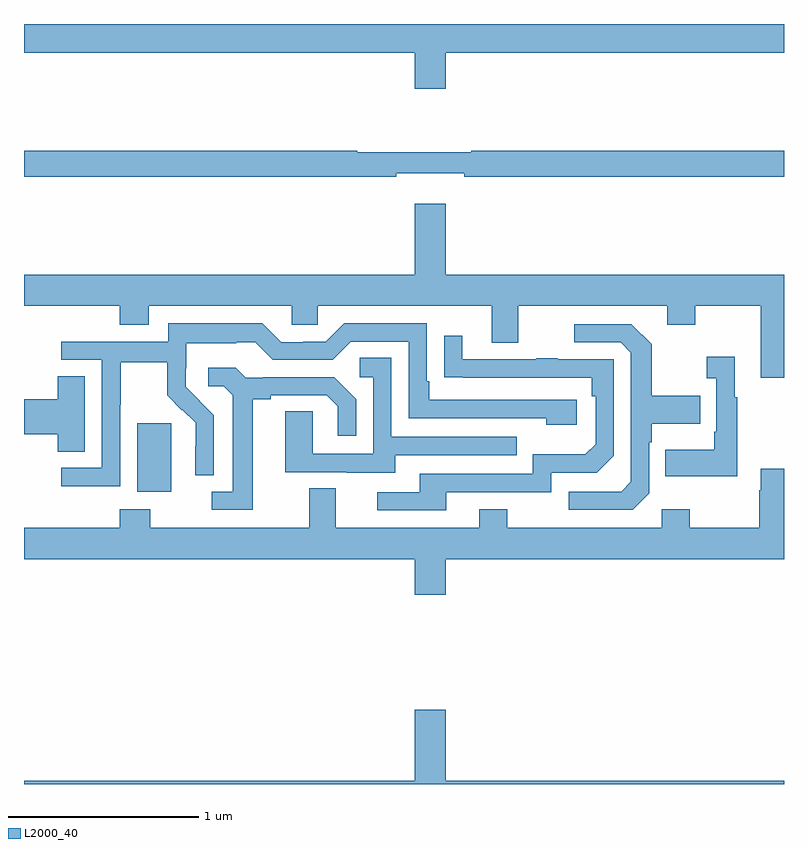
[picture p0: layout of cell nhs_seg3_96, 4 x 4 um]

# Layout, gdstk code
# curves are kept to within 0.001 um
import gdstk
lib = gdstk.Library(unit=1e-6, precision=1e-09)
def R(c, l, rs):  # rectangles x0, y0, x1, y1
    for r in rs: c.add(gdstk.rectangle(r[:2], r[2:], *l))
def P(c, l, *ps):  # polygons
    for p in ps: c.add(gdstk.Polygon(p, *l))
L2000_40 = (2000, 40)

nhs_seg3_96 = lib.new_cell('nhs_seg3_96')
R(nhs_seg3_96, L2000_40, [(115.595,699.938,115.774,700.299)])
P(nhs_seg3_96, L2000_40, [(117.22,702.248),(119,702.248),(119,702.4),(115,702.4),(115,702.248),(117.056,702.248),(117.056,702.06),(117.22,702.06)],
  [(116.96,701.615),(117.316,701.615),(117.316,701.596),(119,701.596),(119,701.732),(117.353,701.732),(117.353,701.725),(116.753,701.725),(116.753,701.732),(115,701.732),(115,701.596),(116.96,701.596)],
  [(119,701.08),(117.22,701.08),(117.22,701.455),(117.056,701.455),(117.056,701.08),(115,701.08),(115,700.916),(115.505,700.916),(115.505,700.817),(115.657,700.817),(115.657,700.916),(116.409,700.916),(116.409,700.818),(116.547,700.818),(116.547,700.916),(117.461,700.916),(117.461,700.722),(117.601,700.722),(117.601,700.916),(118.385,700.916),(118.385,700.817),(118.533,700.817),(118.533,700.916),(118.877,700.916),(118.877,700.539),(119,700.539)],
  [(115.506,700.396),(115.509,700.396),(115.509,700.62),(115.753,700.62),(115.753,700.445),(115.83,700.368),(115.833,700.371),(115.904,700.301),(115.904,700.178),(115.902,700.178),(115.902,700.024),(115.998,700.024),(115.998,700.342),(115.852,700.49),(115.852,700.587),(115.854,700.587),(115.854,700.721),(116.117,700.721),(116.117,700.725),(116.217,700.725),(116.31,700.632),(116.625,700.632),(116.721,700.728),(117.024,700.728),(117.024,700.326),(117.749,700.326),(117.749,700.292),(117.91,700.292),(117.91,700.422),(117.133,700.422),(117.133,700.519),(117.12,700.519),(117.12,700.824),(116.685,700.824),(116.589,700.728),(116.471,700.728),(116.471,700.725),(116.355,700.725),(116.255,700.825),(115.758,700.825),(115.758,700.728),(115.197,700.728),(115.197,700.632),(115.41,700.632),(115.41,700.065),(115.197,700.065),(115.197,699.967),(115.506,699.967)],
  [(118.29,699.93),(118.29,700.199),(118.303,700.199),(118.303,700.295),(118.559,700.295),(118.559,700.443),(118.303,700.443),(118.303,700.715),(118.197,700.821),(117.897,700.821),(117.897,700.725),(118.14,700.725),(118.194,700.671),(118.194,699.99),(118.143,699.939),(117.867,699.939),(117.867,699.843),(118.203,699.843)],
  [(117.223,699.936),(117.774,699.936),(117.774,700.038),(118.014,700.038),(118.104,700.128),(118.104,700.635),(117.809,700.635),(117.809,700.64),(117.697,700.64),(117.697,700.635),(117.307,700.635),(117.307,700.759),(117.211,700.759),(117.211,700.54),(117.988,700.539),(117.988,700.442),(118.008,700.442),(118.008,700.188),(117.955,700.135),(117.678,700.135),(117.678,700.032),(117.083,700.032),(117.083,699.936),(116.859,699.936),(116.859,699.84),(117.223,699.84)],
  [(118.753,700.435),(118.741,700.435),(118.741,700.648),(118.593,700.648),(118.593,700.535),(118.644,700.535),(118.644,700.255),(118.632,700.255),(118.632,700.159),(118.375,700.159),(118.375,700.019),(118.753,700.019)],
  [(116.953,700.131),(117.593,700.131),(117.593,700.227),(116.934,700.227),(116.934,700.643),(116.766,700.643),(116.766,700.542),(116.838,700.542),(116.838,700.137),(116.52,700.137),(116.52,700.361),(116.375,700.361),(116.375,700.041),(116.699,700.041),(116.699,700.037),(116.953,700.037)],
  [(116.203,700.424),(116.299,700.424),(116.299,700.446),(116.594,700.446),(116.651,700.389),(116.651,700.233),(116.748,700.233),(116.748,700.426),(116.632,700.542),(116.26,700.542),(116.26,700.539),(116.166,700.539),(116.114,700.591),(115.971,700.591),(115.971,700.494),(116.052,700.494),(116.099,700.447),(116.099,699.939),(115.989,699.939),(115.989,699.843),(116.203,699.843)],
  [(115.321,700.547),(115.178,700.547),(115.178,700.424),(115,700.424),(115,700.241),(115.178,700.241),(115.178,700.15),(115.321,700.15)],
  [(117.22,699.584),(119,699.584),(119,700.06),(118.877,700.06),(118.877,699.947),(118.87,699.947),(118.87,699.748),(118.503,699.748),(118.503,699.847),(118.356,699.847),(118.356,699.748),(117.543,699.748),(117.543,699.847),(117.395,699.847),(117.395,699.748),(116.641,699.748),(116.641,699.956),(116.501,699.956),(116.501,699.748),(115.665,699.748),(115.665,699.847),(115.505,699.847),(115.505,699.748),(115,699.748),(115,699.584),(117.056,699.584),(117.056,699.396),(117.22,699.396)],
  [(119,698.416),(117.22,698.416),(117.22,698.791),(117.056,698.791),(117.056,698.416),(115,698.416),(115,698.4),(119,698.4)])

lib.write_gds('nhs_seg3_96.gds')
